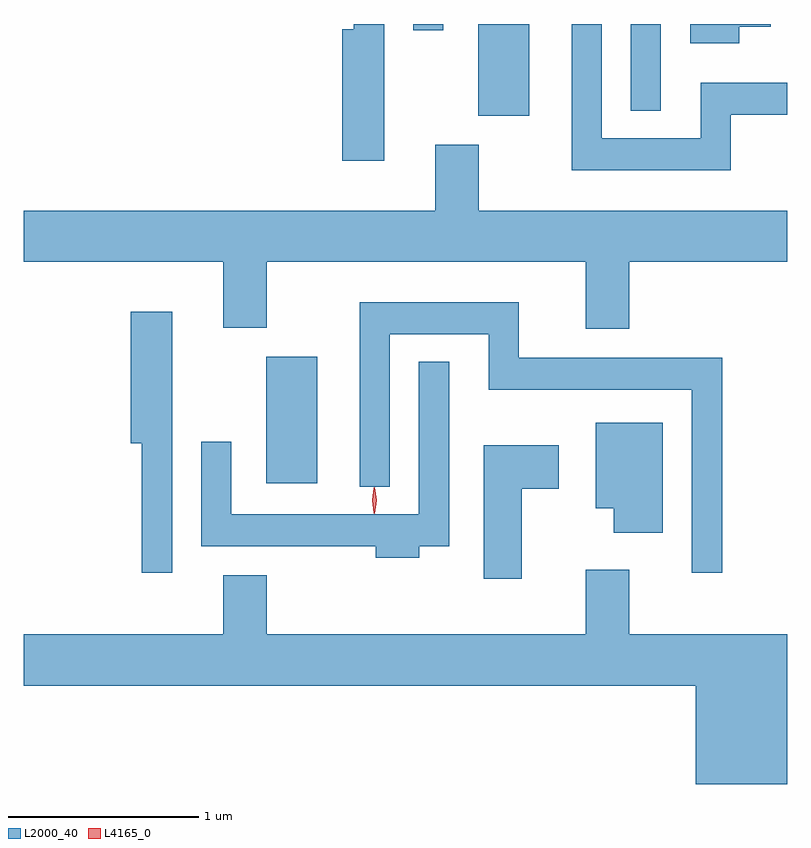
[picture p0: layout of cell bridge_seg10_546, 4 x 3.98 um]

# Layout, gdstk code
import gdstk
lib = gdstk.Library(unit=1e-6, precision=1e-09)
def R(c, l, rs):  # rectangles x0, y0, x1, y1
    for r in rs: c.add(gdstk.rectangle(r[:2], r[2:], *l))
def P(c, l, *ps):  # polygons
    for p in ps: c.add(gdstk.Polygon(p, *l))
L2000_40 = (2000, 40)
L4165_0 = (4165, 0)

bridge_seg10_546 = lib.new_cell('bridge_seg10_546')
R(bridge_seg10_546, L2000_40, [(769.896,2174.916,770.164,2175.579), (771.006,2176.841,771.274,2177.321), (771.806,2176.868,771.964,2177.321), (770.666,2177.288,770.824,2177.321)])
P(bridge_seg10_546, L2000_40, [(770.514,2177.321),(770.356,2177.321),(770.356,2177.294),(770.296,2177.294),(770.296,2176.606),(770.514,2176.606)],
  [(772.329,2176.846),(772.626,2176.846),(772.626,2177.014),(772.171,2177.014),(772.171,2176.724),(771.654,2176.724),(771.654,2177.321),(771.496,2177.321),(771.496,2176.556),(772.329,2176.556)],
  [(772.374,2177.306),(772.539,2177.306),(772.539,2177.321),(772.116,2177.321),(772.116,2177.221),(772.374,2177.221)],
  [(771.799,2176.076),(772.626,2176.076),(772.626,2176.344),(771.009,2176.344),(771.009,2176.689),(770.781,2176.689),(770.781,2176.344),(768.626,2176.344),(768.626,2176.076),(769.671,2176.076),(769.671,2175.731),(769.899,2175.731),(769.899,2176.076),(771.571,2176.076),(771.571,2175.726),(771.799,2175.726)],
  [(772.284,2175.574),(771.219,2175.574),(771.219,2175.864),(770.386,2175.864),(770.386,2174.898),(770.544,2174.898),(770.544,2175.696),(771.061,2175.696),(771.061,2175.406),(772.126,2175.406),(772.126,2174.448),(772.284,2174.448)],
  [(769.404,2175.814),(769.186,2175.814),(769.186,2175.126),(769.246,2175.126),(769.246,2174.448),(769.404,2174.448)],
  [(770.699,2174.586),(770.854,2174.586),(770.854,2175.553),(770.696,2175.553),(770.696,2174.754),(769.714,2174.754),(769.714,2175.133),(769.556,2175.133),(769.556,2174.586),(770.471,2174.586),(770.471,2174.526),(770.699,2174.526)],
  [(771.974,2175.234),(771.621,2175.234),(771.621,2174.786),(771.716,2174.786),(771.716,2174.656),(771.974,2174.656)],
  [(771.234,2174.886),(771.429,2174.886),(771.429,2175.114),(771.036,2175.114),(771.036,2174.416),(771.234,2174.416)],
  [(772.626,2174.124),(771.799,2174.124),(771.799,2174.464),(771.571,2174.464),(771.571,2174.124),(769.899,2174.124),(769.899,2174.434),(769.671,2174.434),(769.671,2174.124),(768.626,2174.124),(768.626,2173.856),(772.146,2173.856),(772.146,2173.341),(772.626,2173.341)])
P(bridge_seg10_546, L4165_0, [(770.464,2174.757),(770.455,2174.826),(770.464,2174.896),(770.465,2174.896),(770.465,2174.896),(770.475,2174.826),(770.465,2174.757),(770.465,2174.757)],
  [(770.462,2174.759),(770.461,2174.76),(770.452,2174.826),(770.461,2174.892),(770.462,2174.893),(770.462,2174.892),(770.472,2174.826),(770.462,2174.76)])

lib.write_gds('bridge_seg10_546.gds')
